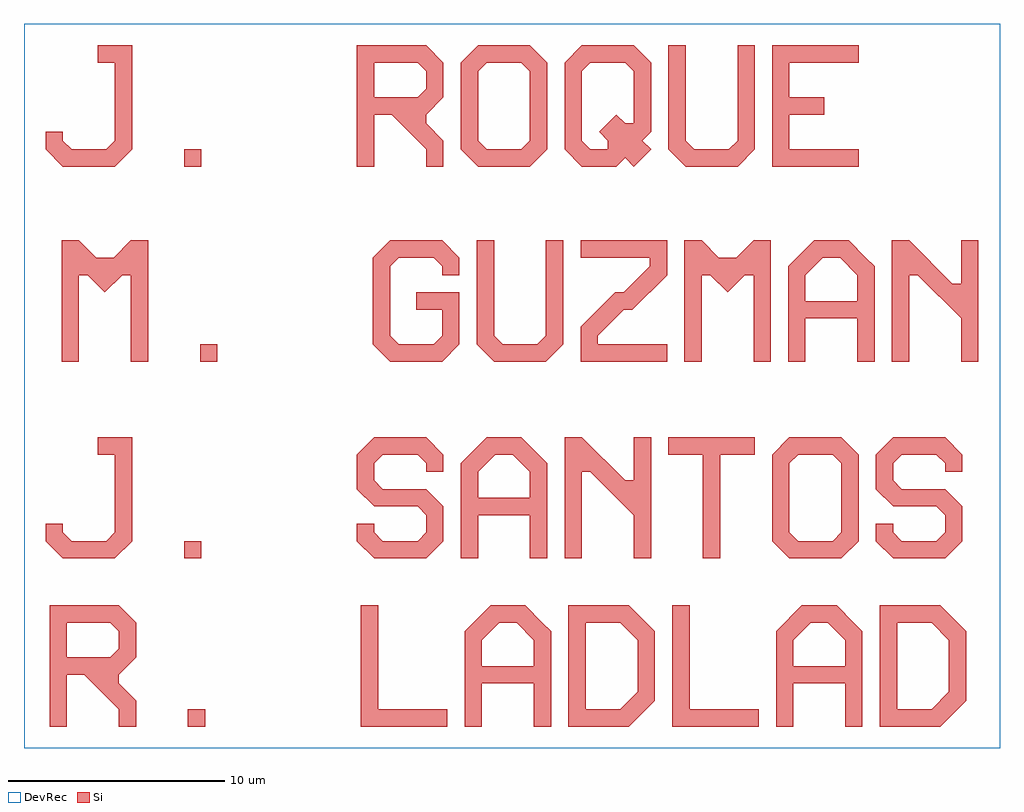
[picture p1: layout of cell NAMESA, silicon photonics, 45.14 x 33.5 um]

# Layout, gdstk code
import gdstk
lib = gdstk.Library(unit=1e-6, precision=1e-09)
def R(c, l, rs):  # rectangles x0, y0, x1, y1
    for r in rs: c.add(gdstk.rectangle(r[:2], r[2:], *l))
def P(c, l, *ps):  # polygons
    for p in ps: c.add(gdstk.Polygon(p, *l))
Si = (1, 0)
DevRec = (68, 0)

namesa = lib.new_cell('NAMESA')
R(namesa, Si, [(6.58,0,7.38,0.8), (6.4,7.78,7.2,8.58), (7.14,16.88,7.94,17.68), (6.4,25.9,7.2,26.7)])
P(namesa, Si, [(0.8,25.9),(0,26.7),(0,27.5),(0.8,27.5),(0.8,27.1),(1.2,26.7),(2.8,26.7),(3.2,27.1),(3.2,30.7),(2.4,30.7),(2.4,31.5),(4,31.5),(4,26.7),(3.2,25.9)],
  [(14.4,25.9),(14.4,31.5),(17.6,31.5),(18.4,30.7),(15.2,30.7),(15.2,29.1),(17.2,29.1),(17.6,29.5),(17.6,30.3),(17.2,30.7),(18.4,30.7),(18.4,29.1),(17.6,28.3),(17.6,27.9),(18.4,27.1),(18.4,25.9),(17.6,25.9),(17.6,26.7),(16,28.3),(15.2,28.3),(15.2,25.9)],
  [(20,25.9),(19.2,26.7),(19.2,30.7),(20,31.5),(22.4,31.5),(23.2,30.7),(23.2,28.7),(22.4,28.7),(22.4,30.3),(22,30.7),(20.4,30.7),(20,30.3),(20,27.1),(20.4,26.7),(22,26.7),(22.4,27.1),(22.4,28.7),(23.2,28.7),(23.2,26.7),(22.4,25.9)],
  [(24.8,25.9),(24,26.7),(24,30.7),(24.8,31.5),(27.2,31.5),(28,30.7),(25.2,30.7),(24.8,30.3),(24.8,27.1),(25.2,26.7),(26,26.7),(26,27.1),(25.6,27.5),(26.4,28.3),(26.8,27.9),(27.2,27.9),(27.2,30.3),(26.8,30.7),(28,30.7),(28,27.5),(27.6,27.1),(28,26.7),(27.2,25.9),(26.8,26.3),(26.4,25.9)],
  [(29.6,25.9),(28.8,26.7),(28.8,31.5),(29.6,31.5),(29.6,27.1),(30,26.7),(31.6,26.7),(32,27.1),(32,31.5),(32.8,31.5),(32.8,26.7),(32,25.9)],
  [(33.6,25.9),(33.6,31.5),(37.6,31.5),(37.6,30.7),(34.4,30.7),(34.4,29.1),(36,29.1),(36,28.3),(34.4,28.3),(34.4,26.7),(37.6,26.7),(37.6,25.9)],
  [(0.74,16.88),(0.74,22.48),(1.54,22.48),(2.34,21.68),(3.14,21.68),(3.94,22.48),(4.74,22.48),(4.74,16.88),(3.94,16.88),(3.94,20.88),(3.54,20.88),(2.74,20.08),(1.94,20.88),(1.54,20.88),(1.54,16.88)],
  [(15.94,16.88),(15.14,17.68),(15.14,21.68),(15.94,22.48),(18.34,22.48),(19.14,21.68),(19.14,20.88),(18.34,20.88),(18.34,21.28),(17.94,21.68),(16.34,21.68),(15.94,21.28),(15.94,18.08),(16.34,17.68),(17.94,17.68),(18.34,18.08),(18.34,19.28),(17.14,19.28),(17.14,20.08),(19.14,20.08),(19.14,17.68),(18.34,16.88)],
  [(20.74,16.88),(19.94,17.68),(19.94,22.48),(20.74,22.48),(20.74,18.08),(21.14,17.68),(22.74,17.68),(23.14,18.08),(23.14,22.48),(23.94,22.48),(23.94,17.68),(23.14,16.88)],
  [(24.74,16.88),(24.74,18.48),(26.34,20.08),(26.74,20.08),(27.94,21.28),(27.94,21.68),(24.74,21.68),(24.74,22.48),(28.74,22.48),(28.74,20.88),(27.14,19.28),(26.74,19.28),(25.54,18.08),(25.54,17.68),(28.74,17.68),(28.74,16.88)],
  [(29.54,16.88),(29.54,22.48),(30.34,22.48),(31.14,21.68),(31.94,21.68),(32.74,22.48),(33.54,22.48),(33.54,16.88),(32.74,16.88),(32.74,20.88),(32.34,20.88),(31.54,20.08),(30.74,20.88),(30.34,20.88),(30.34,16.88)],
  [(34.34,16.88),(34.34,21.28),(35.54,22.48),(37.14,22.48),(37.94,21.68),(35.94,21.68),(35.14,20.88),(35.14,19.68),(37.54,19.68),(37.54,20.88),(36.74,21.68),(37.94,21.68),(38.34,21.28),(38.34,16.88),(37.54,16.88),(37.54,18.88),(35.14,18.88),(35.14,16.88)],
  [(39.14,16.88),(39.14,22.48),(39.94,22.48),(41.94,20.48),(42.34,20.48),(42.34,22.48),(43.14,22.48),(43.14,16.88),(42.34,16.88),(42.34,18.88),(40.34,20.88),(39.94,20.88),(39.94,16.88)],
  [(0.8,7.78),(0,8.58),(0,9.38),(0.8,9.38),(0.8,8.98),(1.2,8.58),(2.8,8.58),(3.2,8.98),(3.2,12.58),(2.4,12.58),(2.4,13.38),(4,13.38),(4,8.58),(3.2,7.78)],
  [(15.2,7.78),(14.4,8.58),(14.4,9.38),(15.2,9.38),(15.2,8.98),(15.6,8.58),(17.2,8.58),(17.6,8.98),(17.6,9.78),(17.2,10.18),(15.2,10.18),(14.4,10.98),(14.4,12.58),(15.2,13.38),(17.6,13.38),(18.4,12.58),(18.4,11.78),(17.6,11.78),(17.6,12.18),(17.2,12.58),(15.6,12.58),(15.2,12.18),(15.2,11.38),(15.6,10.98),(17.6,10.98),(18.4,10.18),(18.4,8.58),(17.6,7.78)],
  [(19.2,7.78),(19.2,12.18),(20.4,13.38),(22,13.38),(22.8,12.58),(20.8,12.58),(20,11.78),(20,10.58),(22.4,10.58),(22.4,11.78),(21.6,12.58),(22.8,12.58),(23.2,12.18),(23.2,7.78),(22.4,7.78),(22.4,9.78),(20,9.78),(20,7.78)],
  [(24,7.78),(24,13.38),(24.8,13.38),(26.8,11.38),(27.2,11.38),(27.2,13.38),(28,13.38),(28,7.78),(27.2,7.78),(27.2,9.78),(25.2,11.78),(24.8,11.78),(24.8,7.78)],
  [(30.4,7.78),(30.4,12.58),(28.8,12.58),(28.8,13.38),(32.8,13.38),(32.8,12.58),(31.2,12.58),(31.2,7.78)],
  [(34.4,7.78),(33.6,8.58),(33.6,12.58),(34.4,13.38),(36.8,13.38),(37.6,12.58),(37.6,10.58),(36.8,10.58),(36.8,12.18),(36.4,12.58),(34.8,12.58),(34.4,12.18),(34.4,8.98),(34.8,8.58),(36.4,8.58),(36.8,8.98),(36.8,10.58),(37.6,10.58),(37.6,8.58),(36.8,7.78)],
  [(39.2,7.78),(38.4,8.58),(38.4,9.38),(39.2,9.38),(39.2,8.98),(39.6,8.58),(41.2,8.58),(41.6,8.98),(41.6,9.78),(41.2,10.18),(39.2,10.18),(38.4,10.98),(38.4,12.58),(39.2,13.38),(41.6,13.38),(42.4,12.58),(42.4,11.78),(41.6,11.78),(41.6,12.18),(41.2,12.58),(39.6,12.58),(39.2,12.18),(39.2,11.38),(39.6,10.98),(41.6,10.98),(42.4,10.18),(42.4,8.58),(41.6,7.78)],
  [(0.18,0),(0.18,5.6),(3.38,5.6),(4.18,4.8),(0.98,4.8),(0.98,3.2),(2.98,3.2),(3.38,3.6),(3.38,4.4),(2.98,4.8),(4.18,4.8),(4.18,3.2),(3.38,2.4),(3.38,2),(4.18,1.2),(4.18,0),(3.38,0),(3.38,0.8),(1.78,2.4),(0.98,2.4),(0.98,0)],
  [(14.58,0),(14.58,5.6),(15.38,5.6),(15.38,0.8),(18.58,0.8),(18.58,0)],
  [(19.38,0),(19.38,4.4),(20.58,5.6),(22.18,5.6),(22.98,4.8),(20.98,4.8),(20.18,4),(20.18,2.8),(22.58,2.8),(22.58,4),(21.78,4.8),(22.98,4.8),(23.38,4.4),(23.38,0),(22.58,0),(22.58,2),(20.18,2),(20.18,0)],
  [(24.18,0),(24.18,5.6),(26.98,5.6),(27.78,4.8),(24.98,4.8),(24.98,0.8),(26.58,0.8),(27.38,1.6),(27.38,4),(26.58,4.8),(27.78,4.8),(28.18,4.4),(28.18,1.2),(26.98,0)],
  [(28.98,0),(28.98,5.6),(29.78,5.6),(29.78,0.8),(32.98,0.8),(32.98,0)],
  [(33.78,0),(33.78,4.4),(34.98,5.6),(36.58,5.6),(37.38,4.8),(35.38,4.8),(34.58,4),(34.58,2.8),(36.98,2.8),(36.98,4),(36.18,4.8),(37.38,4.8),(37.78,4.4),(37.78,0),(36.98,0),(36.98,2),(34.58,2),(34.58,0)],
  [(38.58,0),(38.58,5.6),(41.38,5.6),(42.18,4.8),(39.38,4.8),(39.38,0.8),(40.98,0.8),(41.78,1.6),(41.78,4),(40.98,4.8),(42.18,4.8),(42.58,4.4),(42.58,1.2),(41.38,0)])
R(namesa, DevRec, [(-1,-1,44.14,32.5)])

lib.write_gds('NAMESA.gds')
